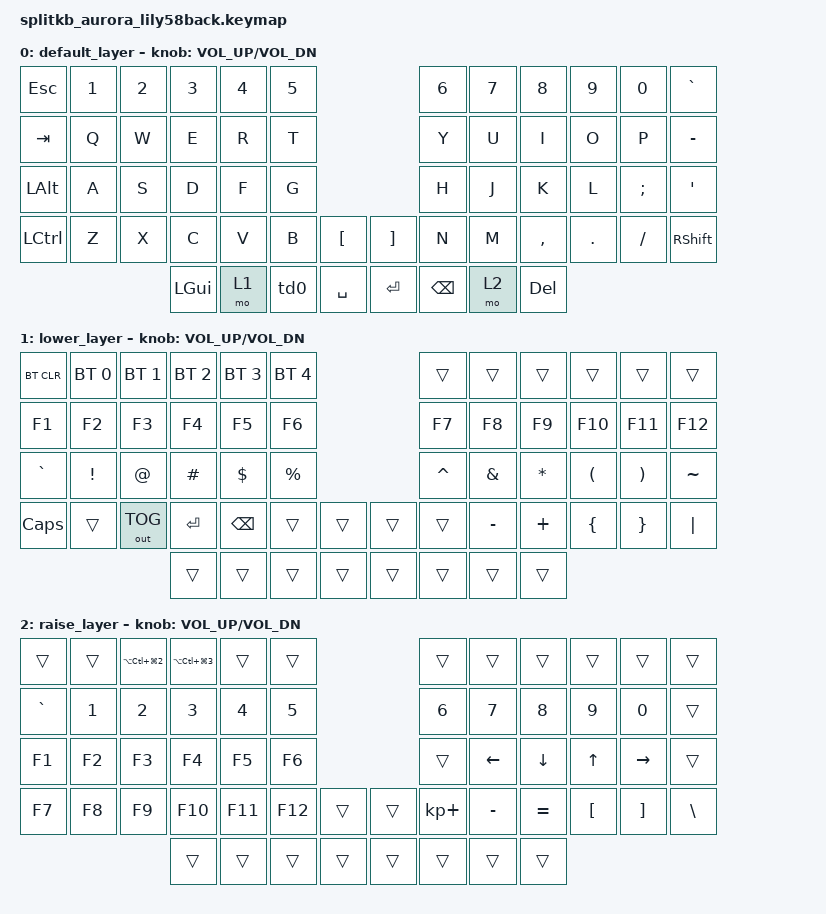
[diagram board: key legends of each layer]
/*
 * Copyright (c) 2022 The ZMK Contributors
 * ok
 * SPDX-License-Identifier: MIT
 */

#include <behaviors.dtsi>
#include <dt-bindings/zmk/keys.h>
#include <dt-bindings/zmk/bt.h>
#include <dt-bindings/zmk/ext_power.h>
#include <dt-bindings/zmk/outputs.h>
#include <dt-bindings/zmk/rgb.h>

/ {
    behaviors {
        td0: tap_dance_0 {
            compatible = "zmk,behavior-tap-dance";
            label = "TAP_DANCE_0";
            #binding-cells = <0>;
            tapping-term-ms = <500>;
            bindings = <&kp LSHFT>, <&kp CAPS>;
        };
    };
    keymap {
        compatible = "zmk,keymap";

        default_layer {
// ------------------------------------------------------------------------------------------------------------
// |  ESC  |  1  |  2  |  3   |  4   |  5   |                   |  6   |  7    |  8    |  9   |   0   |   `   |
// |  TAB  |  Q  |  W  |  E   |  R   |  T   |                   |  Y   |  U    |  I    |  O   |   P   |   -   |
// |  ALT  |  A  |  S  |  D   |  F   |  G   |                   |  H   |  J    |  K    |  L   |   ;   |   '   |
// | CTRL  |  Z  |  X  |  C   |  V   |  B   |   "["  |  |  "]"  |  N   |  M    |  ,    |  .   |   /   | SHIFT |
//                     |  GUI | LOWER| SHIFT|  SPACE |  | ENTER | BSPC | RAISE | DEL   |
            bindings = <
&kp ESC   &kp N1 &kp N2 &kp N3   &kp N4   &kp N5                     &kp N6 &kp N7   &kp N8    &kp N9  &kp N0   &kp GRAVE
&kp TAB   &kp Q  &kp W  &kp E    &kp R    &kp T                      &kp Y  &kp U    &kp I     &kp O   &kp P    &kp MINUS
&kp LALT  &kp A  &kp S  &kp D    &kp F    &kp G                      &kp H  &kp J    &kp K     &kp L   &kp SEMI &kp SQT
&kp LCTRL &kp Z  &kp X  &kp C    &kp V    &kp B  &kp LBKT   &kp RBKT &kp N  &kp M    &kp COMMA &kp DOT &kp FSLH &kp RSHFT
                        &kp LGUI &mo 1    &td0   &kp SPACE  &kp RET  &kp BSPC &mo 2 &kp DEL
            >;

            sensor-bindings = <&inc_dec_kp C_VOL_UP C_VOL_DN>;
        };

        lower_layer {
// ------------------------------------------------------------------------------------------------------------
// | BTCLR | BT1 | BT2 |  BT3 |  BT4 |  BT5 |                   | #&rgb_ug RGB_TOG|#&rgb_ug RGB_EFF|      |      |       |       |
// |  F1   |  F2 |  F3 |  F4  |  F5  |  F6  |                   |  F7  |  F8   |  F9   |  F10 |  F11  |  F12  |
// |   `   |  !  |  @  |  #   |  $   |  %   |                   |  ^   |  &    |  *    |  (   |   )   |   ~   |
// |  CAPS |     |OUT_TOG|RET |BSPC  |      |        |  |       |      |  _    |  +    |  {   |   }   |  "|"  |
//                     |      |      |      |        |  |       |      |       |       |
            bindings = <
&bt BT_CLR &bt BT_SEL 0     &bt BT_SEL 1      &bt BT_SEL 2      &bt BT_SEL 3 &bt BT_SEL 4                 &trans    &trans    &trans          &trans    &trans    &trans
&kp F1     &kp F2           &kp F3            &kp F4            &kp F5       &kp F6                       &kp F7    &kp F8    &kp F9          &kp F10   &kp F11   &kp F12
&kp GRAVE  &kp EXCL         &kp AT            &kp HASH          &kp DOLLAR   &kp PRCNT                    &kp CARET &kp AMPS  &kp STAR        &kp LPAR  &kp RPAR  &kp TILDE
&kp CAPS   &trans           &out OUT_TOG      &kp RET           &kp BSPC     &trans    &trans   &trans    &trans    &kp MINUS &kp PLUS        &kp LBRC  &kp RBRC  &kp PIPE
                                              &trans            &trans       &trans    &trans   &trans    &trans    &trans    &trans
            >;

            sensor-bindings = <&inc_dec_kp C_VOL_UP C_VOL_DN>;
        };

        raise_layer {
// ------------------------------------------------------------------------------------------------------------
// |       |     |fancy2|fancy3|     |      |                   |      |       |       |      |       |       |
// |   `   |  1  |  2  |  3   |  4   |  5   |                   |  6   |   7   |   8   |  9   |   0   |       |
// |   F1  |  F2 |  F3 |  F4  |  F5  |  F6  |                   |      |   <-  |   v   |  ^   |  ->   |       |
// |   F7  |  F8 |  F9 |  F10 |  F11 |  F12 |        |  |       |  +   |   -   |   =   |  [   |   ]   |   \   |
//                     |      |   GUI|      |        |  |       |      |       |       |
            bindings = <
&trans    &trans &kp LA(LC(LG(NUMBER_2))) &kp LA(LC(LG(NUMBER_3)))  &trans  &trans                       &trans  &trans  &trans    &trans   &trans    &trans
&kp GRAVE &kp N1 &kp N2 &kp N3  &kp N4  &kp N5                       &kp N6      &kp N7    &kp N8    &kp N9   &kp N0    &trans
&kp F1    &kp F2 &kp F3 &kp F4  &kp F5  &kp F6                       &trans      &kp LEFT  &kp DOWN  &kp UP   &kp RIGHT &trans
&kp F7    &kp F8 &kp F9 &kp F10 &kp F11 &kp F12   &trans   &trans    &kp KP_PLUS &kp MINUS &kp EQUAL &kp LBKT &kp RBKT  &kp BSLH
                        &trans  &trans  &trans   &trans   &trans    &trans      &trans    &trans
            >;

            sensor-bindings = <&inc_dec_kp C_VOL_UP C_VOL_DN>;
        };
    };
};

&nice_view_spi {
    cs-gpios = <&pro_micro 4 GPIO_ACTIVE_HIGH>;
};

&left_encoder {
    status = "disabled";
};

&right_encoder {
    status = "disabled";
};
